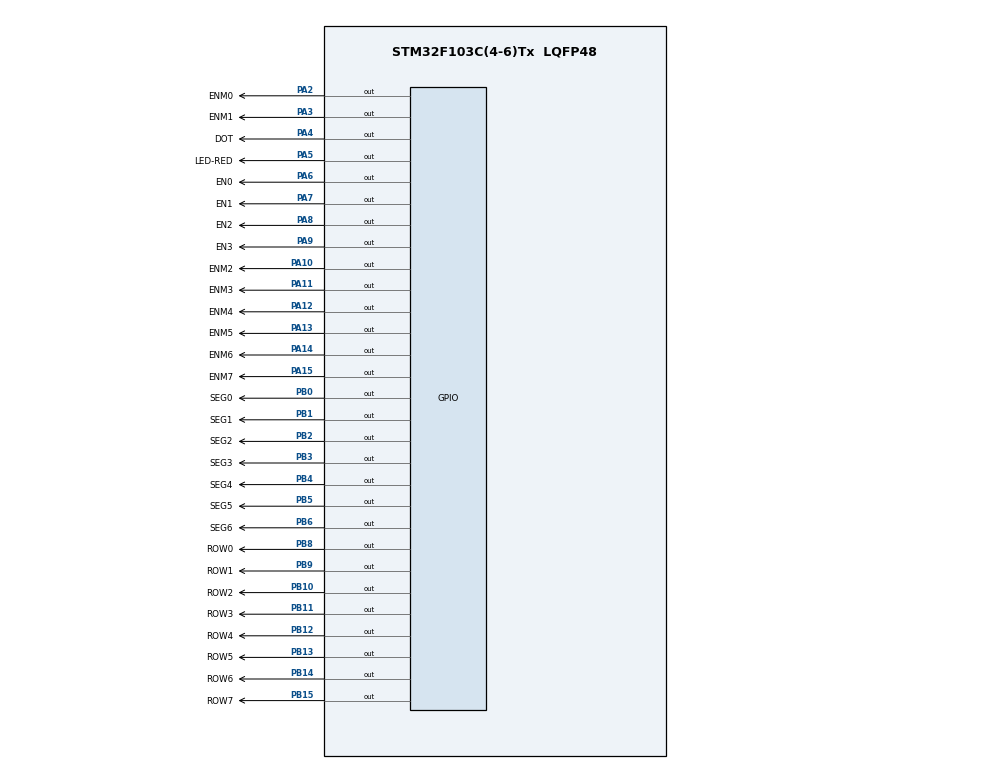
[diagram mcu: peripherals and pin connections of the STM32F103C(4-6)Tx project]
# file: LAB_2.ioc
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Mcu.Family=STM32F1
Mcu.Name=STM32F103C(4-6)Tx
Mcu.Package=LQFP48
NVIC.PriorityGroup=NVIC_PRIORITYGROUP_4
NVIC.TIM2_IRQn=true\:0\:0\:false\:false\:true\:true\:true\:true
PA10.GPIO_Label=ENM2
PA10.Signal=GPIO_Output
PA11.GPIO_Label=ENM3
PA11.Signal=GPIO_Output
PA12.GPIO_Label=ENM4
PA12.Signal=GPIO_Output
PA13.GPIO_Label=ENM5
PA13.Signal=GPIO_Output
PA14.GPIO_Label=ENM6
PA14.Signal=GPIO_Output
PA15.GPIO_Label=ENM7
PA15.Signal=GPIO_Output
PA2.GPIO_Label=ENM0
PA2.Signal=GPIO_Output
PA3.GPIO_Label=ENM1
PA3.Signal=GPIO_Output
PA4.GPIO_Label=DOT
PA4.Signal=GPIO_Output
PA5.GPIO_Label=LED-RED
PA5.Signal=GPIO_Output
PA6.GPIO_Label=EN0
PA6.Signal=GPIO_Output
PA7.GPIO_Label=EN1
PA7.Signal=GPIO_Output
PA8.GPIO_Label=EN2
PA8.Signal=GPIO_Output
PA9.GPIO_Label=EN3
PA9.Signal=GPIO_Output
PB0.GPIO_Label=SEG0
PB0.Signal=GPIO_Output
PB1.GPIO_Label=SEG1
PB1.Signal=GPIO_Output
PB10.GPIO_Label=ROW2
PB10.Signal=GPIO_Output
PB11.GPIO_Label=ROW3
PB11.Signal=GPIO_Output
PB12.GPIO_Label=ROW4
PB12.Signal=GPIO_Output
PB13.GPIO_Label=ROW5
PB13.Signal=GPIO_Output
PB14.GPIO_Label=ROW6
PB14.Signal=GPIO_Output
PB15.GPIO_Label=ROW7
PB15.Signal=GPIO_Output
PB2.GPIO_Label=SEG2
PB2.Signal=GPIO_Output
PB3.GPIO_Label=SEG3
PB3.Signal=GPIO_Output
PB4.GPIO_Label=SEG4
PB4.Signal=GPIO_Output
PB5.GPIO_Label=SEG5
PB5.Signal=GPIO_Output
PB6.GPIO_Label=SEG6
PB6.Signal=GPIO_Output
PB8.GPIO_Label=ROW0
PB8.Signal=GPIO_Output
PB9.GPIO_Label=ROW1
PB9.Signal=GPIO_Output
ProjectManager.HeapSize=0x200
ProjectManager.StackSize=0x400
ProjectManager.TargetToolchain=STM32CubeIDE
RCC.APB1Freq_Value=8000000
RCC.APB2Freq_Value=8000000
TIM2.Period=9
TIM2.Prescaler=7999
VP_SYS_VS_ND.Mode=No_Debug
VP_TIM2_VS_ClockSourceINT.Mode=Internal
board=custom

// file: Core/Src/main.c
/* USER CODE BEGIN Header */
/**
  ******************************************************************************
  * @file           : main.c
  * @brief          : Main program body
  ******************************************************************************
  * @attention
  *
  * Copyright (c) 2024 STMicroelectronics.
  * All rights reserved.
  *
  * This software is licensed under terms that can be found in the LICENSE file
  * in the root directory of this software component.
  * If no LICENSE file comes with this software, it is provided AS-IS.
  *
  ******************************************************************************
  */
/* USER CODE END Header */
#include "main.h"

/* USER CODE BEGIN Includes */
#include "software_timer.h"
#include "SEG7.h"
/* USER CODE END Includes */

TIM_HandleTypeDef htim2;

void SystemClock_Config(void);
static void MX_GPIO_Init(void);
static void MX_TIM2_Init(void);

int main(void)
{

  /* MCU Configuration--------------------------------------------------------*/

  /* Reset of all peripherals, Initializes the Flash interface and the Systick. */
  HAL_Init();

  /* Configure the system clock */
  SystemClock_Config();

  /* Initialize all configured peripherals */
  MX_GPIO_Init();
  MX_TIM2_Init();
  /* USER CODE BEGIN 2 */
  HAL_TIM_Base_Start_IT(&htim2);
  /* USER CODE END 2 */

  /* Infinite loop */
  /* USER CODE BEGIN WHILE */
//  setTimer1(100);
//  setTimer2(150);
//  setTimer3(150);
//  setTimer4(100);
//  setTimer5(150);
//  setTimer6(150);
  setTimerDOT(100);
  int index = 0;

  int hour = 15, minute = 9, second = 50;
  void updateClockBuffer()
  {
	  int a = hour;
	  int b = hour;
	  int c = minute;
	  int d = minute;
	  led_buffer[0] = a / 10;
	  led_buffer[1] = b % 10;
	  led_buffer[2] = c / 10;
	  led_buffer[3] = d % 10;

  }
  while (1)
  {
    /* USER CODE END WHILE */

    /* USER CODE BEGIN 3 */

//      if(timer4_flag == 1)
//      {
//    	  setTimer4(150);
//    	  HAL_GPIO_WritePin(EN2_GPIO_Port, EN2_Pin, GPIO_PIN_SET);
//    	  HAL_GPIO_WritePin(EN3_GPIO_Port, EN3_Pin, GPIO_PIN_SET);
//      }
//      if(timer5_flag == 1)
//      {
//    	  setTimer5(300);
//    	  HAL_GPIO_WritePin(EN2_GPIO_Port, EN2_Pin, GPIO_PIN_RESET);
//    	  print_SEG7(3);
//      }
//      if(timer6_flag == 1)
//      {
//    	  setTimer6(300);
//    	  HAL_GPIO_WritePin(EN3_GPIO_Port, EN3_Pin, GPIO_PIN_RESET);
//    	  print_SEG7(0);
//      }

      if(timerDOT_flag == 1)
      {
    	  setTimerDOT(100);
    	  HAL_GPIO_TogglePin(DOT_GPIO_Port, DOT_Pin);
      }

      if(updateSEG7_flag == 1)
      {
    	  setTimerUpdateSEG7(100);

    	  	  if (second >= 60){
    	  		  second = 0;
    	  		  minute++;
    	  	  }
    	  	  if(minute >= 60){
    	  		  minute = 0;
    	  		  hour++;
    	  	  }
    	  	  if(hour >=24){
    	  		  hour = 0;
    	  	  }
    	  	 updateClockBuffer();
    	  	 second++;
      }
      if(timer_display_flag == 1)
      {
    	  setTimer_display(25);
    	  update7SEG(index++);
    	  if(index >= 4)
    	  {
    	      index = 0;
    	   }
      }

//	  second++;
//	  if (second >= 60){
//		  second = 0;
//		  minute++;
//	  }
//	  if(minute >= 60){
//		  minute = 0;
//		  hour++;
//	  }
//	  if(hour >=24){
//		  hour = 0;
//	  }
//	  updateClockBuffer();
//	  update7SEG(index);
//	  index++;
//	  if(index >= 4)
//	  {
//	      index = 0;
//	  }
//	  HAL_Delay(1000);
  }
  /* USER CODE END 3 */
}

void SystemClock_Config(void)
{
  RCC_OscInitTypeDef RCC_OscInitStruct = {0};
  RCC_ClkInitTypeDef RCC_ClkInitStruct = {0};

  /** Initializes the RCC Oscillators according to the specified parameters
  * in the RCC_OscInitTypeDef structure.
  */
  RCC_OscInitStruct.OscillatorType = RCC_OSCILLATORTYPE_HSI;
  RCC_OscInitStruct.HSIState = RCC_HSI_ON;
  RCC_OscInitStruct.HSICalibrationValue = RCC_HSICALIBRATION_DEFAULT;
  RCC_OscInitStruct.PLL.PLLState = RCC_PLL_NONE;
  if (HAL_RCC_OscConfig(&RCC_OscInitStruct) != HAL_OK)
  {
    Error_Handler();
  }

  /** Initializes the CPU, AHB and APB buses clocks
  */
  RCC_ClkInitStruct.ClockType = RCC_CLOCKTYPE_HCLK|RCC_CLOCKTYPE_SYSCLK
                              |RCC_CLOCKTYPE_PCLK1|RCC_CLOCKTYPE_PCLK2;
  RCC_ClkInitStruct.SYSCLKSource = RCC_SYSCLKSOURCE_HSI;
  RCC_ClkInitStruct.AHBCLKDivider = RCC_SYSCLK_DIV1;
  RCC_ClkInitStruct.APB1CLKDivider = RCC_HCLK_DIV1;
  RCC_ClkInitStruct.APB2CLKDivider = RCC_HCLK_DIV1;

  if (HAL_RCC_ClockConfig(&RCC_ClkInitStruct, FLASH_LATENCY_0) != HAL_OK)
  {
    Error_Handler();
  }
}

static void MX_TIM2_Init(void)
{

  TIM_ClockConfigTypeDef sClockSourceConfig = {0};
  TIM_MasterConfigTypeDef sMasterConfig = {0};

  htim2.Instance = TIM2;
  htim2.Init.Prescaler = 7999;
  htim2.Init.CounterMode = TIM_COUNTERMODE_UP;
  htim2.Init.Period = 9;
  htim2.Init.ClockDivision = TIM_CLOCKDIVISION_DIV1;
  htim2.Init.AutoReloadPreload = TIM_AUTORELOAD_PRELOAD_DISABLE;
  if (HAL_TIM_Base_Init(&htim2) != HAL_OK)
  {
    Error_Handler();
  }
  sClockSourceConfig.ClockSource = TIM_CLOCKSOURCE_INTERNAL;
  if (HAL_TIM_ConfigClockSource(&htim2, &sClockSourceConfig) != HAL_OK)
  {
    Error_Handler();
  }
  sMasterConfig.MasterOutputTrigger = TIM_TRGO_RESET;
  sMasterConfig.MasterSlaveMode = TIM_MASTERSLAVEMODE_DISABLE;
  if (HAL_TIMEx_MasterConfigSynchronization(&htim2, &sMasterConfig) != HAL_OK)
  {
    Error_Handler();
  }

}

static void MX_GPIO_Init(void)
{
  GPIO_InitTypeDef GPIO_InitStruct = {0};

  /* GPIO Ports Clock Enable */
  __HAL_RCC_GPIOA_CLK_ENABLE();
  __HAL_RCC_GPIOB_CLK_ENABLE();

  /*Configure GPIO pin Output Level */
  HAL_GPIO_WritePin(GPIOA, ENM0_Pin|ENM1_Pin|DOT_Pin|LED_RED_Pin
                          |EN0_Pin|EN1_Pin|EN2_Pin|EN3_Pin
                          |ENM2_Pin|ENM3_Pin|ENM4_Pin|ENM5_Pin
                          |ENM6_Pin|ENM7_Pin, GPIO_PIN_RESET);

  /*Configure GPIO pin Output Level */
  HAL_GPIO_WritePin(GPIOB, SEG0_Pin|SEG1_Pin|SEG2_Pin|ROW2_Pin
                          |ROW3_Pin|ROW4_Pin|ROW5_Pin|ROW6_Pin
                          |ROW7_Pin|SEG3_Pin|SEG4_Pin|SEG5_Pin
                          |SEG6_Pin|ROW0_Pin|ROW1_Pin, GPIO_PIN_RESET);

  /*Configure GPIO pins : ENM0_Pin ENM1_Pin DOT_Pin LED_RED_Pin
                           EN0_Pin EN1_Pin EN2_Pin EN3_Pin
                           ENM2_Pin ENM3_Pin ENM4_Pin ENM5_Pin
                           ENM6_Pin ENM7_Pin */
  GPIO_InitStruct.Pin = ENM0_Pin|ENM1_Pin|DOT_Pin|LED_RED_Pin
                          |EN0_Pin|EN1_Pin|EN2_Pin|EN3_Pin
                          |ENM2_Pin|ENM3_Pin|ENM4_Pin|ENM5_Pin
                          |ENM6_Pin|ENM7_Pin;
  GPIO_InitStruct.Mode = GPIO_MODE_OUTPUT_PP;
  GPIO_InitStruct.Pull = GPIO_NOPULL;
  GPIO_InitStruct.Speed = GPIO_SPEED_FREQ_LOW;
  HAL_GPIO_Init(GPIOA, &GPIO_InitStruct);

  /*Configure GPIO pins : SEG0_Pin SEG1_Pin SEG2_Pin ROW2_Pin
                           ROW3_Pin ROW4_Pin ROW5_Pin ROW6_Pin
                           ROW7_Pin SEG3_Pin SEG4_Pin SEG5_Pin
                           SEG6_Pin ROW0_Pin ROW1_Pin */
  GPIO_InitStruct.Pin = SEG0_Pin|SEG1_Pin|SEG2_Pin|ROW2_Pin
                          |ROW3_Pin|ROW4_Pin|ROW5_Pin|ROW6_Pin
                          |ROW7_Pin|SEG3_Pin|SEG4_Pin|SEG5_Pin
                          |SEG6_Pin|ROW0_Pin|ROW1_Pin;
  GPIO_InitStruct.Mode = GPIO_MODE_OUTPUT_PP;
  GPIO_InitStruct.Pull = GPIO_NOPULL;
  GPIO_InitStruct.Speed = GPIO_SPEED_FREQ_LOW;
  HAL_GPIO_Init(GPIOB, &GPIO_InitStruct);

}

/* USER CODE BEGIN 4 */
  void HAL_TIM_PeriodElapsedCallback(TIM_HandleTypeDef *htim)
  {
	  timerRun();
  }
/* USER CODE END 4 */

void Error_Handler(void)
{
  __disable_irq();
  while (1)
  {
  }
}
